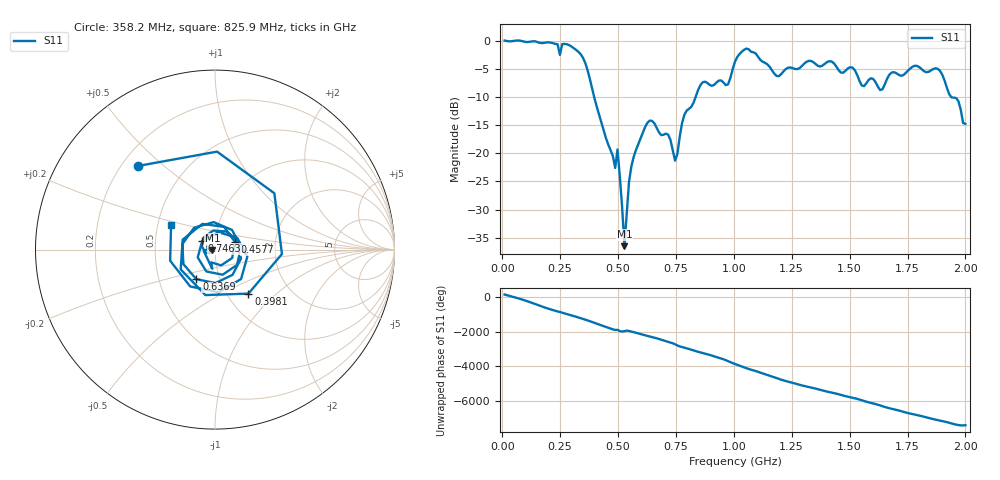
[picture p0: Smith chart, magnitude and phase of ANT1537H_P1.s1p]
!Created with skrf (http://scikit-rf.org).
# Hz S RI R 50.0
!freq ReS11 ImS11
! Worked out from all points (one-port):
!   201 points, 10 MHz to 2 GHz, reference 50 ohm
!   lowest |S11| = -36.5 dB at 527.4 MHz (marker M1), VSWR 1.03, Z = 48.5 - j0.135 ohm
!   |S11| at or under -10 dB: 396.7 MHz to 835.1 MHz (438.4 MHz wide, 71.2 % of centre); 1.939 GHz to end of sweep
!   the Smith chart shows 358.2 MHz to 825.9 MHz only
!   S11 on the Smith chart (normalised r, x): 358.2 MHz: 0.27, +0.41; 398.1 MHz: 1.25, -0.68; 457.8 MHz: 1.25, +0.11; 636.9 MHz: 0.77, -0.26; 746.3 MHz: 0.86, +0.08; 825.9 MHz: 0.59, +0.18
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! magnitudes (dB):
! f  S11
! 10 MHz  0.0
! 258.8 MHz  -0.6
! 358.2 MHz  -4.0
! 398.1 MHz  -10.2
! 457.8 MHz  -18.5
! 487.6 MHz  -22.6
! 497.6 MHz  -19.3
! 507.5 MHz  -24.1
! 527.4 MHz  -36.5
! 547.3 MHz  -25.1
! 557.2 MHz  -22.4
! 636.9 MHz  -14.2
! 716.5 MHz  -16.7
! 746.3 MHz  -21.3
! 756.2 MHz  -20.1
! 786.1 MHz  -13.2
! 825.9 MHz  -11.0
! 865.7 MHz  -7.4
! 975.1 MHz  -7.8
! 1.005 GHz  -3.8
! 1.055 GHz  -1.4
! 1.184 GHz  -6.3
! 1.254 GHz  -4.9
! 1.502 GHz  -4.7
! 1.632 GHz  -8.8
! 1.751 GHz  -5.4
! 1.881 GHz  -5.0
! 2 GHz  -14.8
